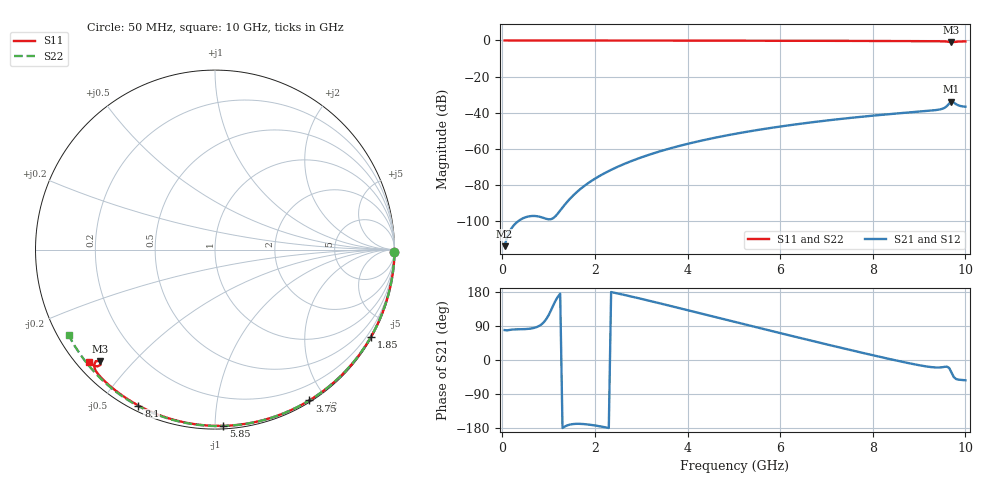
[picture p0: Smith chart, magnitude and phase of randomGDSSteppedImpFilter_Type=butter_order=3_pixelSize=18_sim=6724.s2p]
! freq	dB(S11)	phase(S11)	dB(S12)	phase(S12)
!  dB(S21)	phase(S21)	dB(S22)	phase(S22)
!S-par simulation data
#  GHz  S  DB  R 50
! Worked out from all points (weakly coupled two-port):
!   200 points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, 50 MHz to 10 GHz, reference 50 ohm
!   highest |S21| = -33.81 dB at 9.7 GHz (marker M1); lowest = -113.7 dB at 50 MHz (marker M2)
!   lowest |S11| = -1.0 dB at 9.7 GHz (marker M3), VSWR 17.39, Z = 3.35 - j20.2 ohm
!   |S11| at or under -10 dB: nowhere
!   |S22| runs from -0.5 to 0.0 dB; largest |S21 - S12| = 0
!   S11 on the Smith chart (normalised r, x): 50 MHz: open; 1.85 GHz: 0.03, -3.82; 3.75 GHz: 0.02, -1.81; 5.85 GHz: 0.02, -1.05; 8.1 GHz: 0.02, -0.62; 10 GHz: 0.03, -0.38
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0.05  -0.00 -0.8  -113.74 78.9  -113.74 78.9  -0.00 -0.9
0.9  -0.02 -14.4  -98.20 100.1  -98.20 100.1  -0.02 -15.6
1.75  -0.04 -27.8  -80.85 -169.0  -80.85 -169.0  -0.04 -30.0
1.8  -0.04 -28.6  -79.88 -169.5  -79.88 -169.5  -0.04 -30.8
1.85  -0.04 -29.3  -78.97 -170.2  -78.97 -170.2  -0.04 -31.6
2.15  -0.04 -34.0  -74.21 -175.9  -74.21 -175.9  -0.05 -36.6
2.5  -0.05 -39.3  -69.75 175.4  -69.75 175.4  -0.05 -42.4
2.9  -0.06 -45.4  -65.59 164.3  -65.59 164.3  -0.06 -48.9
3.4  -0.07 -52.8  -61.33 149.6  -61.33 149.6  -0.08 -56.9
3.75  -0.08 -58.0  -58.81 139.1  -58.81 139.1  -0.08 -62.4
4.35  -0.09 -66.6  -55.10 120.9  -55.10 120.9  -0.10 -71.6
5.05  -0.12 -76.4  -51.53 99.6  -51.53 99.6  -0.13 -82.1
5.85  -0.15 -87.2  -48.16 75.5  -48.16 75.5  -0.16 -93.6
6.7  -0.19 -98.4  -45.20 50.2  -45.20 50.2  -0.21 -105.6
8.1  -0.28 -116.2  -41.34 9.8  -41.34 9.8  -0.31 -124.5
8.35  -0.30 -119.3  -40.76 2.9  -40.76 2.9  -0.33 -127.8
9.45  -0.44 -133.6  -38.14 -19.7  -38.14 -19.7  -0.44 -142.4
9.55  -0.52 -135.4  -37.26 -18.1  -37.26 -18.1  -0.45 -143.7
9.65  -0.82 -136.9  -34.86 -21.1  -34.86 -21.1  -0.46 -145.0
9.7  -1.00 -135.9  -33.81 -33.0  -33.81 -33.0  -0.46 -145.7
9.85  -0.61 -136.0  -35.91 -51.8  -35.91 -51.8  -0.48 -147.8
10  -0.53 -138.3  -36.61 -53.5  -36.61 -53.5  -0.50 -149.8
